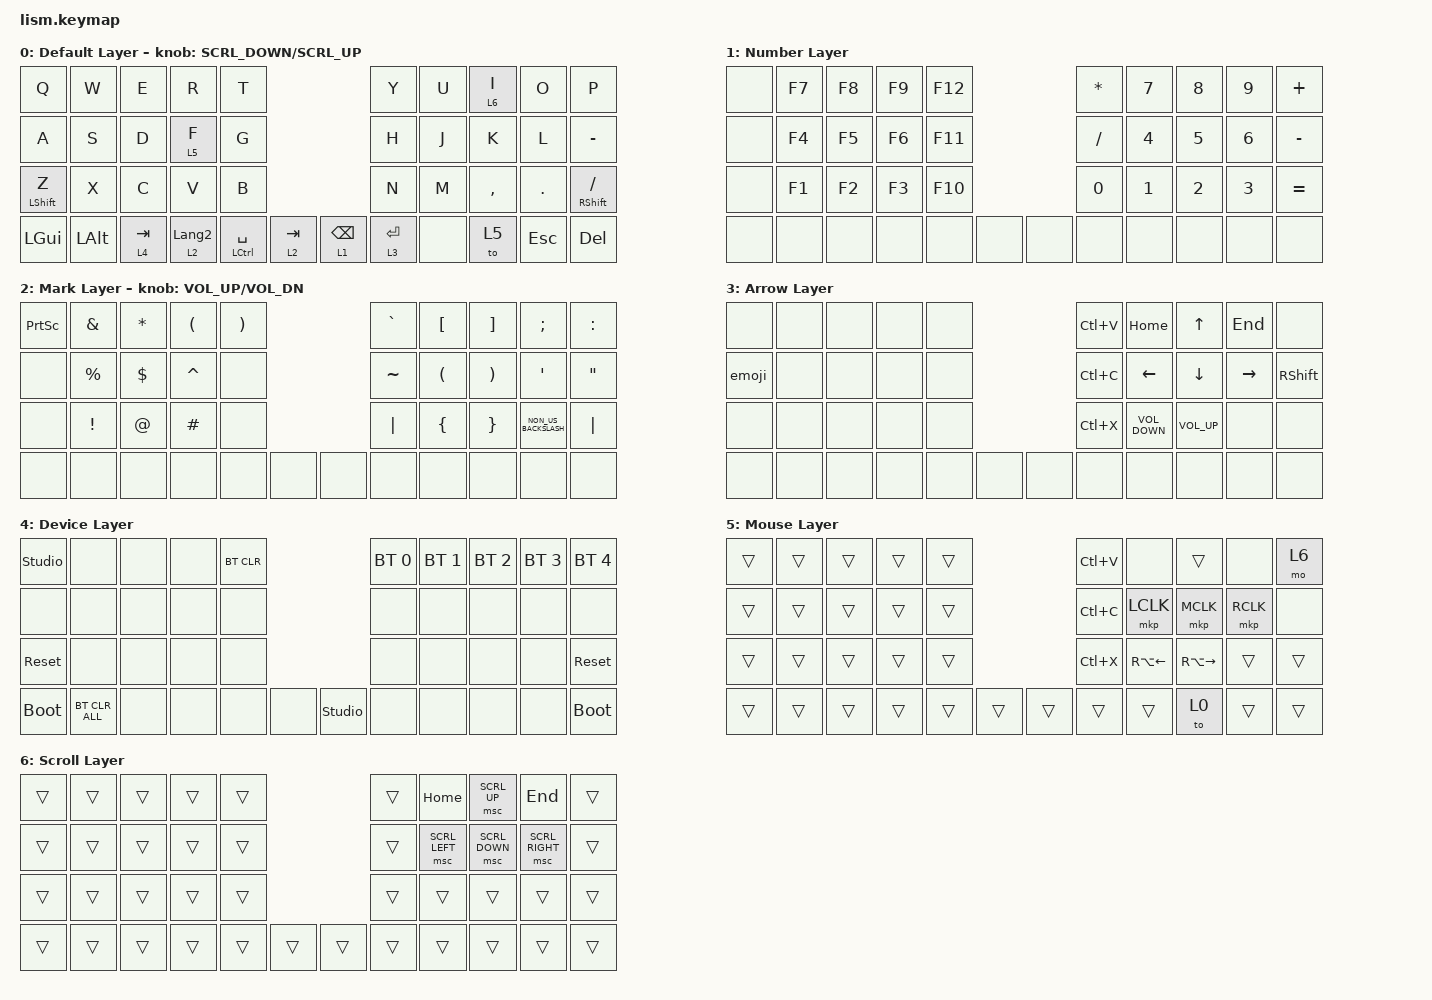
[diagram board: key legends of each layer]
#define ZMK_POINTING_DEFAULT_SCRL_VAL 200

#include <dt-bindings/zmk/mouse.h>
#include <behaviors.dtsi>
#include <dt-bindings/zmk/bt.h>
#include <dt-bindings/zmk/keys.h>
#include <dt-bindings/zmk/pointing.h>

&mt {
    tapping-term-ms = <300>;
    flavor = "balanced";
};

&lt { quick-tap-ms = <300>; };

/ {
    macros {
        emoji: emoji_macro {
            compatible = "zmk,behavior-macro";
            label = "EMOJI";
            #binding-cells = <0>;
            bindings =
                <&macro_press>,
                <&kp CAPSLOCK>,
                <&macro_tap>,
                <&kp E>,
                <&macro_release>,
                <&kp CAPSLOCK>;
        };
    };

    behaviors {
        encoder_msc: sensor_rotate_msc {
            compatible = "zmk,behavior-sensor-rotate-var";
            #sensor-binding-cells = <2>;
            bindings = <&msc>, <&msc>;

            tap-ms = <20>;
        };

        encoder_kp: sensor_rotate_kp {
            compatible = "zmk,behavior-sensor-rotate-var";
            #sensor-binding-cells = <2>;
            bindings = <&kp>, <&kp>;
        };
    };

    combos {
        compatible = "zmk,combos";

        Japanese {
            bindings = <&kp LANGUAGE_1>;
            key-positions = <16 17>;
            layers = <0>;
        };

        English {
            bindings = <&kp LANGUAGE_2>;
            key-positions = <13 12>;
        };

        Tab {
            bindings = <&kp TAB>;
            key-positions = <11 12>;
        };

        Escape {
            bindings = <&kp ESCAPE>;
            key-positions = <1 2>;
        };
    };

    keymap {
        compatible = "zmk,keymap";

        default_layer {
            display-name = "Default Layer";
            bindings = <
&kp Q             &kp W         &kp E      &kp R             &kp T                                          &kp Y        &kp U  &lt 6 I    &kp O       &kp P
&kp A             &kp S         &kp D      &lt 5 F           &kp G                                          &kp H        &kp J  &kp K      &kp L       &kp MINUS
&mt LEFT_SHIFT Z  &kp X         &kp C      &kp V             &kp B                                          &kp N        &kp M  &kp COMMA  &kp DOT     &mt RIGHT_SHIFT SLASH
&kp LEFT_GUI      &kp LEFT_ALT  &lt 4 TAB  &lt 2 LANGUAGE_2  &mt LCTRL SPACE  &lt 2 TAB    &lt 1 BACKSPACE  &lt 3 ENTER  &none  &to 5      &kp ESCAPE  &kp DELETE
            >;

            sensor-bindings = <&encoder_msc SCRL_DOWN SCRL_UP>;
        };

        layer_1 {
            display-name = "Number Layer";
            bindings = <
&none  &kp F7  &kp F8  &kp F9  &kp F12                  &kp ASTERISK  &kp N7        &kp N8        &kp N9        &kp PLUS
&none  &kp F4  &kp F5  &kp F6  &kp F11                  &kp SLASH     &kp NUMBER_4  &kp N5        &kp NUMBER_6  &kp MINUS
&none  &kp F1  &kp F2  &kp F3  &kp F10                  &kp NUMBER_0  &kp N1        &kp NUMBER_2  &kp NUMBER_3  &kp EQUAL
&none  &none   &none   &none   &none    &none    &none  &none         &none         &none         &none         &none
            >;
        };

        layer_2 {
            display-name = "Mark Layer";
            bindings = <
&kp PRINTSCREEN  &kp AMPERSAND    &kp ASTERISK  &kp LEFT_PARENTHESIS  &kp RIGHT_PARENTHESIS                  &kp GRAVE  &kp LEFT_BRACKET  &kp RIGHT_BRACKET      &kp SEMICOLON         &kp COLON
&none            &kp PERCENT      &kp DLLR      &kp CARET             &none                                  &kp TILDE  &kp LPAR          &kp RIGHT_PARENTHESIS  &kp APOSTROPHE        &kp DOUBLE_QUOTES
&none            &kp EXCLAMATION  &kp AT_SIGN   &kp HASH              &none                                  &kp PIPE   &kp LEFT_BRACE    &kp RIGHT_BRACE        &kp NON_US_BACKSLASH  &kp PIPE
&none            &none            &none         &none                 &none                  &none    &none  &none      &none             &none                  &none                 &none
            >;

            sensor-bindings = <&encoder_kp C_VOL_UP C_VOL_DN>;
        };

        layer_3 {
            display-name = "Arrow Layer";
            bindings = <
&none   &none  &none  &none  &none                  &kp LC(V)  &kp HOME           &kp UP_ARROW     &kp END          &none
&emoji  &none  &none  &none  &none                  &kp LC(C)  &kp LEFT_ARROW     &kp DOWN_ARROW   &kp RIGHT_ARROW  &kp RIGHT_SHIFT
&none   &none  &none  &none  &none                  &kp LC(X)  &kp C_VOLUME_DOWN  &kp C_VOLUME_UP  &none            &none
&none   &none  &none  &none  &none  &none    &none  &none      &none              &none            &none            &none
            >;
        };

        layer_4 {
            display-name = "Device Layer";
            bindings = <
&studio_unlock  &none           &none  &none  &bt BT_CLR                           &bt BT_SEL 0  &bt BT_SEL 1  &bt BT_SEL 2  &bt BT_SEL 3  &bt BT_SEL 4
&none           &none           &none  &none  &none                                &none         &none         &none         &none         &none
&sys_reset      &none           &none  &none  &none                                &none         &none         &none         &none         &sys_reset
&bootloader     &bt BT_CLR_ALL  &none  &none  &none       &none    &studio_unlock  &none         &none         &none         &none         &bootloader
            >;
        };

        layer_5 {
            display-name = "Mouse Layer";
            bindings = <
&trans  &trans  &trans  &trans  &trans                    &kp LC(V)  &none               &trans               &none      &mo 6
&trans  &trans  &trans  &trans  &trans                    &kp LC(C)  &mkp LCLK           &mkp MCLK            &mkp RCLK  &none
&trans  &trans  &trans  &trans  &trans                    &kp LC(X)  &kp RA(LEFT_ARROW)  &kp RA(RIGHT_ARROW)  &trans     &trans
&trans  &trans  &trans  &trans  &trans  &trans    &trans  &trans     &trans              &to 0                &trans     &trans
            >;
        };

        layer_6 {
            display-name = "Scroll Layer";
            bindings = <
&trans  &trans  &trans  &trans  &trans                    &trans  &kp HOME        &msc SCRL_UP    &kp END          &trans
&trans  &trans  &trans  &trans  &trans                    &trans  &msc SCRL_LEFT  &msc SCRL_DOWN  &msc SCRL_RIGHT  &trans
&trans  &trans  &trans  &trans  &trans                    &trans  &trans          &trans          &trans           &trans
&trans  &trans  &trans  &trans  &trans  &trans    &trans  &trans  &trans          &trans          &trans           &trans
            >;
        };

        layer_7 {
            status = "reserved";
            display-name = "Brank Layer";
            bindings = <
&trans  &trans  &trans  &trans  &trans                    &trans  &trans  &trans  &trans  &trans
&trans  &trans  &trans  &trans  &trans                    &trans  &trans  &trans  &trans  &trans
&trans  &trans  &trans  &trans  &trans                    &trans  &trans  &trans  &trans  &trans
&trans  &trans  &trans  &trans  &trans  &trans    &trans  &trans  &trans  &trans  &trans  &trans
            >;
        };
    };
};
